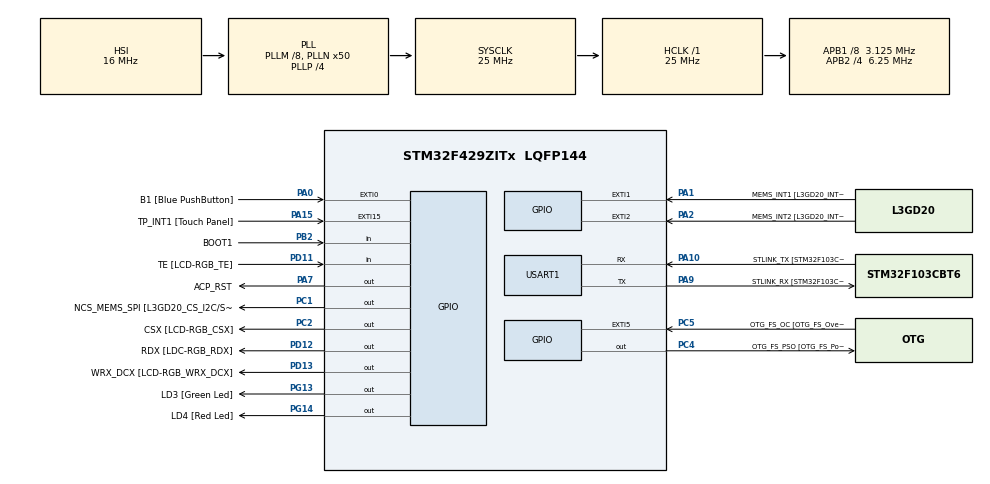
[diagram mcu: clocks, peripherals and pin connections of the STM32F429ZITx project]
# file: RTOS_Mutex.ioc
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FREERTOS.Tasks01=defaultTask,0,128,StartDefaultTask,Default,NULL,Dynamic,NULL,NULL
Mcu.Family=STM32F4
Mcu.Name=STM32F429ZITx
Mcu.Package=LQFP144
NVIC.PriorityGroup=NVIC_PRIORITYGROUP_4
NVIC.TIM6_DAC_IRQn=true\:15\:0\:false\:false\:true\:false\:false\:true\:true
NVIC.TimeBase=TIM6_DAC_IRQn
NVIC.TimeBaseIP=TIM6
PA0/WKUP.GPIO_Label=B1 [Blue PushButton]
PA0/WKUP.GPIO_ModeDefaultEXTI=GPIO_MODE_EVT_RISING
PA0/WKUP.GPIO_PuPd=GPIO_NOPULL
PA0/WKUP.Signal=GPXTI0
PA1.GPIO_Label=MEMS_INT1 [L3GD20_INT1]
PA1.GPIO_ModeDefaultEXTI=GPIO_MODE_EVT_RISING
PA1.GPIO_PuPd=GPIO_NOPULL
PA1.Signal=GPXTI1
PA10.GPIO_Label=STLINK_TX [STM32F103CBT6_PA2]
PA10.Mode=Asynchronous
PA10.Signal=USART1_RX
PA11.GPIO_Label=R4
PA11.GPIO_Mode=GPIO_MODE_AF_PP
PA11.GPIO_PuPd=GPIO_NOPULL
PA11.GPIO_Speed=GPIO_SPEED_FREQ_LOW
PA11.Signal=LTDC_R4
PA12.GPIO_Label=R5
PA12.GPIO_Mode=GPIO_MODE_AF_PP
PA12.GPIO_PuPd=GPIO_NOPULL
PA12.GPIO_Speed=GPIO_SPEED_FREQ_LOW
PA12.Signal=LTDC_R5
PA13.GPIO_Label=SWDIO
PA13.Signal=SYS_JTMS-SWDIO
PA14.GPIO_Label=SWCLK
PA14.Signal=SYS_JTCK-SWCLK
PA15.GPIO_Label=TP_INT1 [Touch Panel]
PA15.GPIO_ModeDefaultEXTI=GPIO_MODE_EVT_RISING
PA15.GPIO_PuPd=GPIO_NOPULL
PA15.Signal=GPXTI15
PA2.GPIO_Label=MEMS_INT2 [L3GD20_INT2]
PA2.GPIO_ModeDefaultEXTI=GPIO_MODE_EVT_RISING
PA2.GPIO_PuPd=GPIO_NOPULL
PA2.Signal=GPXTI2
PA3.GPIO_Label=B5
PA3.GPIO_Mode=GPIO_MODE_AF_PP
PA3.GPIO_PuPd=GPIO_NOPULL
PA3.GPIO_Speed=GPIO_SPEED_FREQ_LOW
PA3.Signal=LTDC_B5
PA4.GPIO_Label=VSYNC
PA4.GPIO_Mode=GPIO_MODE_AF_PP
PA4.GPIO_PuPd=GPIO_NOPULL
PA4.GPIO_Speed=GPIO_SPEED_FREQ_LOW
PA4.Signal=LTDC_VSYNC
PA6.GPIO_Label=G2
PA6.GPIO_Mode=GPIO_MODE_AF_PP
PA6.GPIO_PuPd=GPIO_NOPULL
PA6.GPIO_Speed=GPIO_SPEED_FREQ_LOW
PA6.Signal=LTDC_G2
PA7.GPIO_Label=ACP_RST
PA7.GPIO_Mode=GPIO_MODE_OUTPUT_PP
PA7.GPIO_PuPd=GPIO_NOPULL
PA7.GPIO_Speed=GPIO_SPEED_FREQ_LOW
PA7.Signal=GPIO_Output
PA8.GPIO_Label=I2C3_SCL [ACP/RF_SCL]
PA8.GPIO_Mode=GPIO_MODE_AF_OD
PA8.GPIO_PuPd=GPIO_NOPULL
PA8.GPIO_Speed=GPIO_SPEED_FREQ_LOW
PA8.Signal=I2C3_SCL
PA9.GPIO_Label=STLINK_RX [STM32F103CBT6_PA3]
PA9.Mode=Asynchronous
PA9.Signal=USART1_TX
PB0.GPIO_Label=R3
PB0.GPIO_Mode=GPIO_MODE_AF_PP
PB0.GPIO_PuPd=GPIO_NOPULL
PB0.GPIO_Speed=GPIO_SPEED_FREQ_LOW
PB0.Signal=LTDC_R3
PB1.GPIO_Label=R6
PB1.GPIO_Mode=GPIO_MODE_AF_PP
PB1.GPIO_PuPd=GPIO_NOPULL
PB1.GPIO_Speed=GPIO_SPEED_FREQ_LOW
PB1.Signal=LTDC_R6
PB10.GPIO_Label=G4
PB10.GPIO_Mode=GPIO_MODE_AF_PP
PB10.GPIO_PuPd=GPIO_NOPULL
PB10.GPIO_Speed=GPIO_SPEED_FREQ_LOW
PB10.Signal=LTDC_G4
PB11.GPIO_Label=G5
PB11.GPIO_Mode=GPIO_MODE_AF_PP
PB11.GPIO_PuPd=GPIO_NOPULL
PB11.GPIO_Speed=GPIO_SPEED_FREQ_LOW
PB11.Signal=LTDC_G5
PB12.GPIO_Label=OTG_HS_ID
PB12.GPIO_Mode=GPIO_MODE_AF_PP
PB12.GPIO_PuPd=GPIO_NOPULL
PB12.GPIO_Speed=GPIO_SPEED_FREQ_LOW
PB12.Signal=USB_OTG_HS_ID
PB13.GPIO_Label=VBUS_HS
PB13.GPIO_Mode=GPIO_MODE_INPUT
PB13.GPIO_PuPd=GPIO_NOPULL
PB13.Signal=USB_OTG_HS_VBUS
PB14.GPIO_Label=OTG_HS_DM
PB14.GPIO_Mode=GPIO_MODE_AF_PP
PB14.GPIO_PuPd=GPIO_NOPULL
PB14.GPIO_Speed=GPIO_SPEED_FREQ_LOW
PB14.Signal=USB_OTG_HS_DM
PB15.GPIO_Label=OTG_HS_DP
PB15.GPIO_Mode=GPIO_MODE_AF_PP
PB15.GPIO_PuPd=GPIO_NOPULL
PB15.GPIO_Speed=GPIO_SPEED_FREQ_LOW
PB15.Signal=USB_OTG_HS_DP
PB2/BOOT1.GPIO_Label=BOOT1
PB2/BOOT1.GPIO_Mode=GPIO_MODE_INPUT
PB2/BOOT1.GPIO_PuPd=GPIO_NOPULL
PB2/BOOT1.Signal=GPIO_Input
PB5.GPIO_Label=SDCKE1
PB5.GPIO_Mode=GPIO_MODE_AF_PP
PB5.GPIO_PuPd=GPIO_NOPULL
PB5.GPIO_Speed=GPIO_SPEED_FREQ_VERY_HIGH
PB5.Signal=FMC_SDCKE1
PB6.GPIO_Label=SDNE1 [SDRAM_CS]
PB6.GPIO_Mode=GPIO_MODE_AF_PP
PB6.GPIO_PuPd=GPIO_NOPULL
PB6.GPIO_Speed=GPIO_SPEED_FREQ_VERY_HIGH
PB6.Signal=FMC_SDNE1
PB8.GPIO_Label=B6
PB8.GPIO_Mode=GPIO_MODE_AF_PP
PB8.GPIO_PuPd=GPIO_NOPULL
PB8.GPIO_Speed=GPIO_SPEED_FREQ_LOW
PB8.Signal=LTDC_B6
PB9.GPIO_Label=B7
PB9.GPIO_Mode=GPIO_MODE_AF_PP
PB9.GPIO_PuPd=GPIO_NOPULL
PB9.GPIO_Speed=GPIO_SPEED_FREQ_LOW
PB9.Signal=LTDC_B7
PC0.GPIO_Label=SDNWE
PC0.GPIO_Mode=GPIO_MODE_AF_PP
PC0.GPIO_PuPd=GPIO_NOPULL
PC0.GPIO_Speed=GPIO_SPEED_FREQ_VERY_HIGH
PC0.Signal=FMC_SDNWE
PC1.GPIO_Label=NCS_MEMS_SPI [L3GD20_CS_I2C/SPI]
PC1.GPIO_Mode=GPIO_MODE_OUTPUT_PP
PC1.GPIO_PuPd=GPIO_NOPULL
PC1.GPIO_Speed=GPIO_SPEED_FREQ_LOW
PC1.Signal=GPIO_Output
PC10.GPIO_Label=R2
PC10.GPIO_Mode=GPIO_MODE_AF_PP
PC10.GPIO_PuPd=GPIO_NOPULL
PC10.GPIO_Speed=GPIO_SPEED_FREQ_LOW
PC10.Signal=LTDC_R2
PC14/OSC32_IN.GPIO_Label=PC14-OSC32_IN
PC14/OSC32_IN.Signal=RCC_OSC32_IN
PC15/OSC32_OUT.GPIO_Label=PC15-OSC32_OUT
PC15/OSC32_OUT.Signal=RCC_OSC32_OUT
PC2.GPIO_Label=CSX [LCD-RGB_CSX]
PC2.GPIO_Mode=GPIO_MODE_OUTPUT_PP
PC2.GPIO_PuPd=GPIO_NOPULL
PC2.GPIO_Speed=GPIO_SPEED_FREQ_LOW
PC2.Signal=GPIO_Output
PC4.GPIO_Label=OTG_FS_PSO [OTG_FS_PowerSwitchOn]
PC4.GPIO_Mode=GPIO_MODE_OUTPUT_PP
PC4.GPIO_PuPd=GPIO_NOPULL
PC4.GPIO_Speed=GPIO_SPEED_FREQ_LOW
PC4.Signal=GPIO_Output
PC5.GPIO_Label=OTG_FS_OC [OTG_FS_OverCurrent]
PC5.GPIO_ModeDefaultEXTI=GPIO_MODE_EVT_RISING
PC5.Signal=GPXTI5
PC6.GPIO_Label=HSYNC
PC6.GPIO_Mode=GPIO_MODE_AF_PP
PC6.GPIO_PuPd=GPIO_NOPULL
PC6.GPIO_Speed=GPIO_SPEED_FREQ_LOW
PC6.Signal=LTDC_HSYNC
PC7.GPIO_Label=G6
PC7.GPIO_Mode=GPIO_MODE_AF_PP
PC7.GPIO_PuPd=GPIO_NOPULL
PC7.GPIO_Speed=GPIO_SPEED_FREQ_LOW
PC7.Signal=LTDC_G6
PC9.GPIO_Label=I2C3_SDA [ACP/RF_SDA]
PC9.GPIO_Mode=GPIO_MODE_AF_OD
PC9.GPIO_PuPd=GPIO_NOPULL
PC9.GPIO_Speed=GPIO_SPEED_FREQ_LOW
PC9.Signal=I2C3_SDA
PD0.GPIO_Label=D2
PD0.GPIO_Mode=GPIO_MODE_AF_PP
PD0.GPIO_PuPd=GPIO_NOPULL
PD0.GPIO_Speed=GPIO_SPEED_FREQ_VERY_HIGH
PD0.Signal=FMC_D2_DA2
PD1.GPIO_Label=D3
PD1.GPIO_Mode=GPIO_MODE_AF_PP
PD1.GPIO_PuPd=GPIO_NOPULL
PD1.GPIO_Speed=GPIO_SPEED_FREQ_VERY_HIGH
PD1.Signal=FMC_D3_DA3
PD10.GPIO_Label=D15
PD10.GPIO_Mode=GPIO_MODE_AF_PP
PD10.GPIO_PuPd=GPIO_NOPULL
PD10.GPIO_Speed=GPIO_SPEED_FREQ_VERY_HIGH
PD10.Signal=FMC_D15_DA15
PD11.GPIO_Label=TE [LCD-RGB_TE]
PD11.GPIO_Mode=GPIO_MODE_INPUT
PD11.GPIO_PuPd=GPIO_NOPULL
PD11.Signal=GPIO_Input
PD12.GPIO_Label=RDX [LDC-RGB_RDX]
PD12.GPIO_Mode=GPIO_MODE_OUTPUT_PP
PD12.GPIO_PuPd=GPIO_NOPULL
PD12.GPIO_Speed=GPIO_SPEED_FREQ_LOW
PD12.Signal=GPIO_Output
PD13.GPIO_Label=WRX_DCX [LCD-RGB_WRX_DCX]
PD13.GPIO_Mode=GPIO_MODE_OUTPUT_PP
PD13.GPIO_PuPd=GPIO_NOPULL
PD13.GPIO_Speed=GPIO_SPEED_FREQ_LOW
PD13.Signal=GPIO_Output
PD14.GPIO_Label=D0
PD14.GPIO_Mode=GPIO_MODE_AF_PP
PD14.GPIO_PuPd=GPIO_NOPULL
PD14.GPIO_Speed=GPIO_SPEED_FREQ_VERY_HIGH
PD14.Signal=FMC_D0_DA0
PD15.GPIO_Label=D1
PD15.GPIO_Mode=GPIO_MODE_AF_PP
PD15.GPIO_PuPd=GPIO_NOPULL
PD15.GPIO_Speed=GPIO_SPEED_FREQ_VERY_HIGH
PD15.Signal=FMC_D1_DA1
PD3.GPIO_Label=G7
PD3.GPIO_Mode=GPIO_MODE_AF_PP
PD3.GPIO_PuPd=GPIO_NOPULL
PD3.GPIO_Speed=GPIO_SPEED_FREQ_LOW
PD3.Signal=LTDC_G7
PD6.GPIO_Label=B2
PD6.GPIO_Mode=GPIO_MODE_AF_PP
PD6.GPIO_PuPd=GPIO_NOPULL
PD6.GPIO_Speed=GPIO_SPEED_FREQ_LOW
PD6.Signal=LTDC_B2
PD8.GPIO_Label=D13
PD8.GPIO_Mode=GPIO_MODE_AF_PP
PD8.GPIO_PuPd=GPIO_NOPULL
PD8.GPIO_Speed=GPIO_SPEED_FREQ_VERY_HIGH
PD8.Signal=FMC_D13_DA13
PD9.GPIO_Label=D14
PD9.GPIO_Mode=GPIO_MODE_AF_PP
PD9.GPIO_PuPd=GPIO_NOPULL
PD9.GPIO_Speed=GPIO_SPEED_FREQ_VERY_HIGH
PD9.Signal=FMC_D14_DA14
PE0.GPIO_Label=NBL0 [SDRAM_LDQM]
PE0.GPIO_Mode=GPIO_MODE_AF_PP
PE0.GPIO_PuPd=GPIO_NOPULL
PE0.GPIO_Speed=GPIO_SPEED_FREQ_VERY_HIGH
PE0.Signal=FMC_NBL0
PE1.GPIO_Label=NBL1 [SDRAM_UDQM]
PE1.GPIO_Mode=GPIO_MODE_AF_PP
PE1.GPIO_PuPd=GPIO_NOPULL
PE1.GPIO_Speed=GPIO_SPEED_FREQ_VERY_HIGH
PE1.Signal=FMC_NBL1
PE10.GPIO_Label=D7
PE10.GPIO_Mode=GPIO_MODE_AF_PP
PE10.GPIO_PuPd=GPIO_NOPULL
PE10.GPIO_Speed=GPIO_SPEED_FREQ_VERY_HIGH
PE10.Signal=FMC_D7_DA7
PE11.GPIO_Label=D8
PE11.GPIO_Mode=GPIO_MODE_AF_PP
PE11.GPIO_PuPd=GPIO_NOPULL
PE11.GPIO_Speed=GPIO_SPEED_FREQ_VERY_HIGH
PE11.Signal=FMC_D8_DA8
PE12.GPIO_Label=D9
PE12.GPIO_Mode=GPIO_MODE_AF_PP
PE12.GPIO_PuPd=GPIO_NOPULL
PE12.GPIO_Speed=GPIO_SPEED_FREQ_VERY_HIGH
PE12.Signal=FMC_D9_DA9
PE13.GPIO_Label=D10
PE13.GPIO_Mode=GPIO_MODE_AF_PP
PE13.GPIO_PuPd=GPIO_NOPULL
PE13.GPIO_Speed=GPIO_SPEED_FREQ_VERY_HIGH
PE13.Signal=FMC_D10_DA10
PE14.GPIO_Label=D11
PE14.GPIO_Mode=GPIO_MODE_AF_PP
PE14.GPIO_PuPd=GPIO_NOPULL
PE14.GPIO_Speed=GPIO_SPEED_FREQ_VERY_HIGH
PE14.Signal=FMC_D11_DA11
PE15.GPIO_Label=D12
PE15.GPIO_Mode=GPIO_MODE_AF_PP
PE15.GPIO_PuPd=GPIO_NOPULL
PE15.GPIO_Speed=GPIO_SPEED_FREQ_VERY_HIGH
PE15.Signal=FMC_D12_DA12
PE7.GPIO_Label=D4
PE7.GPIO_Mode=GPIO_MODE_AF_PP
PE7.GPIO_PuPd=GPIO_NOPULL
PE7.GPIO_Speed=GPIO_SPEED_FREQ_VERY_HIGH
PE7.Signal=FMC_D4_DA4
PE8.GPIO_Label=D5
PE8.GPIO_Mode=GPIO_MODE_AF_PP
PE8.GPIO_PuPd=GPIO_NOPULL
PE8.GPIO_Speed=GPIO_SPEED_FREQ_VERY_HIGH
PE8.Signal=FMC_D5_DA5
PE9.GPIO_Label=D6
PE9.GPIO_Mode=GPIO_MODE_AF_PP
PE9.GPIO_PuPd=GPIO_NOPULL
PE9.GPIO_Speed=GPIO_SPEED_FREQ_VERY_HIGH
PE9.Signal=FMC_D6_DA6
PF0.GPIO_Label=A0
PF0.GPIO_Mode=GPIO_MODE_AF_PP
PF0.GPIO_PuPd=GPIO_NOPULL
PF0.GPIO_Speed=GPIO_SPEED_FREQ_VERY_HIGH
PF0.Signal=FMC_A0
PF1.GPIO_Label=A1
PF1.GPIO_Mode=GPIO_MODE_AF_PP
PF1.GPIO_PuPd=GPIO_NOPULL
PF1.GPIO_Speed=GPIO_SPEED_FREQ_VERY_HIGH
PF1.Signal=FMC_A1
PF10.GPIO_Label=ENABLE [LCD-RGB_ENABLE]
PF10.GPIO_Mode=GPIO_MODE_AF_PP
PF10.GPIO_PuPd=GPIO_NOPULL
PF10.GPIO_Speed=GPIO_SPEED_FREQ_LOW
PF10.Signal=LTDC_DE
PF11.GPIO_Label=SDNRAS
PF11.GPIO_Mode=GPIO_MODE_AF_PP
PF11.GPIO_PuPd=GPIO_NOPULL
PF11.GPIO_Speed=GPIO_SPEED_FREQ_VERY_HIGH
PF11.Signal=FMC_SDNRAS
PF12.GPIO_Label=A6
PF12.GPIO_Mode=GPIO_MODE_AF_PP
PF12.GPIO_PuPd=GPIO_NOPULL
PF12.GPIO_Speed=GPIO_SPEED_FREQ_VERY_HIGH
PF12.Signal=FMC_A6
PF13.GPIO_Label=A7
PF13.GPIO_Mode=GPIO_MODE_AF_PP
PF13.GPIO_PuPd=GPIO_NOPULL
PF13.GPIO_Speed=GPIO_SPEED_FREQ_VERY_HIGH
PF13.Signal=FMC_A7
PF14.GPIO_Label=A8
PF14.GPIO_Mode=GPIO_MODE_AF_PP
PF14.GPIO_PuPd=GPIO_NOPULL
PF14.GPIO_Speed=GPIO_SPEED_FREQ_VERY_HIGH
PF14.Signal=FMC_A8
PF15.GPIO_Label=A9
PF15.GPIO_Mode=GPIO_MODE_AF_PP
PF15.GPIO_PuPd=GPIO_NOPULL
PF15.GPIO_Speed=GPIO_SPEED_FREQ_VERY_HIGH
PF15.Signal=FMC_A9
PF2.GPIO_Label=A2
PF2.GPIO_Mode=GPIO_MODE_AF_PP
PF2.GPIO_PuPd=GPIO_NOPULL
PF2.GPIO_Speed=GPIO_SPEED_FREQ_VERY_HIGH
PF2.Signal=FMC_A2
PF3.GPIO_Label=A3
PF3.GPIO_Mode=GPIO_MODE_AF_PP
PF3.GPIO_PuPd=GPIO_NOPULL
PF3.GPIO_Speed=GPIO_SPEED_FREQ_VERY_HIGH
PF3.Signal=FMC_A3
PF4.GPIO_Label=A4
PF4.GPIO_Mode=GPIO_MODE_AF_PP
PF4.GPIO_PuPd=GPIO_NOPULL
PF4.GPIO_Speed=GPIO_SPEED_FREQ_VERY_HIGH
PF4.Signal=FMC_A4
PF5.GPIO_Label=A5
PF5.GPIO_Mode=GPIO_MODE_AF_PP
PF5.GPIO_PuPd=GPIO_NOPULL
PF5.GPIO_Speed=GPIO_SPEED_FREQ_VERY_HIGH
PF5.Signal=FMC_A5
PF7.GPIO_Label=SPI5_SCK [L3GD20_SCL/SPC]
PF7.GPIO_Mode=GPIO_MODE_AF_PP
PF7.GPIO_PuPd=GPIO_NOPULL
PF7.GPIO_Speed=GPIO_SPEED_FREQ_LOW
PF7.Signal=SPI5_SCK
PF8.GPIO_Label=SPI5_MISO [L3GD20_SDO]
PF8.GPIO_Mode=GPIO_MODE_AF_PP
PF8.GPIO_PuPd=GPIO_NOPULL
PF8.GPIO_Speed=GPIO_SPEED_FREQ_LOW
PF8.Signal=SPI5_MISO
PF9.GPIO_Label=SPI5_MOSI [L3GD20_SDA/SDI/SDO]
PF9.GPIO_Mode=GPIO_MODE_AF_PP
PF9.GPIO_PuPd=GPIO_NOPULL
PF9.GPIO_Speed=GPIO_SPEED_FREQ_LOW
PF9.Signal=SPI5_MOSI
PG0.GPIO_Label=A10
PG0.GPIO_Mode=GPIO_MODE_AF_PP
PG0.GPIO_PuPd=GPIO_NOPULL
PG0.GPIO_Speed=GPIO_SPEED_FREQ_VERY_HIGH
PG0.Signal=FMC_A10
PG1.GPIO_Label=A11
PG1.GPIO_Mode=GPIO_MODE_AF_PP
PG1.GPIO_PuPd=GPIO_NOPULL
PG1.GPIO_Speed=GPIO_SPEED_FREQ_VERY_HIGH
PG1.Signal=FMC_A11
PG10.GPIO_Label=G3
PG10.GPIO_Mode=GPIO_MODE_AF_PP
PG10.GPIO_PuPd=GPIO_NOPULL
PG10.GPIO_Speed=GPIO_SPEED_FREQ_LOW
PG10.Signal=LTDC_G3
PG11.GPIO_Label=B3
PG11.GPIO_Mode=GPIO_MODE_AF_PP
PG11.GPIO_PuPd=GPIO_NOPULL
PG11.GPIO_Speed=GPIO_SPEED_FREQ_LOW
PG11.Signal=LTDC_B3
PG12.GPIO_Label=B4
PG12.GPIO_Mode=GPIO_MODE_AF_PP
PG12.GPIO_PuPd=GPIO_NOPULL
PG12.GPIO_Speed=GPIO_SPEED_FREQ_LOW
PG12.Signal=LTDC_B4
PG13.GPIO_Label=LD3 [Green Led]
PG13.GPIO_Mode=GPIO_MODE_OUTPUT_PP
PG13.GPIO_PuPd=GPIO_NOPULL
PG13.GPIO_Speed=GPIO_SPEED_FREQ_LOW
PG13.Signal=GPIO_Output
PG14.GPIO_Label=LD4 [Red Led]
PG14.GPIO_Mode=GPIO_MODE_OUTPUT_PP
PG14.GPIO_PuPd=GPIO_NOPULL
PG14.GPIO_Speed=GPIO_SPEED_FREQ_LOW
PG14.Signal=GPIO_Output
PG15.GPIO_Label=SDNCAS
PG15.GPIO_Mode=GPIO_MODE_AF_PP
PG15.GPIO_PuPd=GPIO_NOPULL
PG15.GPIO_Speed=GPIO_SPEED_FREQ_VERY_HIGH
PG15.Signal=FMC_SDNCAS
PG4.GPIO_Label=BA0
PG4.GPIO_Mode=GPIO_MODE_AF_PP
PG4.GPIO_PuPd=GPIO_NOPULL
PG4.GPIO_Speed=GPIO_SPEED_FREQ_VERY_HIGH
PG4.Signal=FMC_A14_BA0
PG5.GPIO_Label=BA1
PG5.GPIO_Mode=GPIO_MODE_AF_PP
PG5.GPIO_PuPd=GPIO_NOPULL
PG5.GPIO_Speed=GPIO_SPEED_FREQ_VERY_HIGH
PG5.Signal=FMC_A15_BA1
PG6.GPIO_Label=R7
PG6.GPIO_Mode=GPIO_MODE_AF_PP
PG6.GPIO_PuPd=GPIO_NOPULL
PG6.GPIO_Speed=GPIO_SPEED_FREQ_LOW
PG6.Signal=LTDC_R7
PG7.GPIO_Label=DOTCLK [LCT-RGB_DOTCLK]
PG7.GPIO_Mode=GPIO_MODE_AF_PP
PG7.GPIO_PuPd=GPIO_NOPULL
PG7.GPIO_Speed=GPIO_SPEED_FREQ_LOW
PG7.Signal=LTDC_CLK
PG8.GPIO_Label=SDCLK
PG8.GPIO_Mode=GPIO_MODE_AF_PP
PG8.GPIO_PuPd=GPIO_NOPULL
PG8.GPIO_Speed=GPIO_SPEED_FREQ_VERY_HIGH
PG8.Signal=FMC_SDCLK
PH0/OSC_IN.GPIO_Label=PH0-OSC_IN
PH0/OSC_IN.Mode=HSE-External-Oscillator
PH0/OSC_IN.Signal=RCC_OSC_IN
PH1/OSC_OUT.GPIO_Label=PH1-OSC_OUT
PH1/OSC_OUT.Mode=HSE-External-Oscillator
PH1/OSC_OUT.Signal=RCC_OSC_OUT
ProjectManager.HeapSize=0x200
ProjectManager.StackSize=0x400
ProjectManager.TargetToolchain=STM32CubeIDE
RCC.48MHZClocksFreq_Value=14285714.285714285
RCC.AHBFreq_Value=25000000
RCC.APB1CLKDivider=RCC_HCLK_DIV8
RCC.APB1Freq_Value=3125000
RCC.APB1TimFreq_Value=6250000
RCC.APB2CLKDivider=RCC_HCLK_DIV4
RCC.APB2Freq_Value=6250000
RCC.APB2TimFreq_Value=12500000
RCC.CortexFreq_Value=25000000
RCC.HCLKFreq_Value=25000000
RCC.HSE_VALUE=8000000
RCC.HSI_VALUE=16000000
RCC.LSE_VALUE=32768
RCC.PLLM=8
RCC.PLLN=50
RCC.PLLP=RCC_PLLP_DIV4
RCC.PLLQ=7
RCC.SYSCLKFreq_VALUE=25000000
RCC.SYSCLKSource=RCC_SYSCLKSOURCE_PLLCLK
RCC.VCOOutputFreq_Value=100000000
SH.FMC_A0.0=FMC_A0
SH.FMC_A1.0=FMC_A1
SH.FMC_A10.0=FMC_A10
SH.FMC_A11.0=FMC_A11
SH.FMC_A14_BA0.0=FMC_BA0
SH.FMC_A15_BA1.0=FMC_BA1
SH.FMC_A2.0=FMC_A2
SH.FMC_A3.0=FMC_A3
SH.FMC_A4.0=FMC_A4
SH.FMC_A5.0=FMC_A5
SH.FMC_A6.0=FMC_A6
SH.FMC_A7.0=FMC_A7
SH.FMC_A8.0=FMC_A8
SH.FMC_A9.0=FMC_A9
SH.FMC_D0_DA0.0=FMC_D0
SH.FMC_D10_DA10.0=FMC_D10
SH.FMC_D11_DA11.0=FMC_D11
SH.FMC_D12_DA12.0=FMC_D12
SH.FMC_D13_DA13.0=FMC_D13
SH.FMC_D14_DA14.0=FMC_D14
SH.FMC_D15_DA15.0=FMC_D15
SH.FMC_D1_DA1.0=FMC_D1
SH.FMC_D2_DA2.0=FMC_D2
SH.FMC_D3_DA3.0=FMC_D3
SH.FMC_D4_DA4.0=FMC_D4
SH.FMC_D5_DA5.0=FMC_D5
SH.FMC_D6_DA6.0=FMC_D6
SH.FMC_D7_DA7.0=FMC_D7
SH.FMC_D8_DA8.0=FMC_D8
SH.FMC_D9_DA9.0=FMC_D9
SH.FMC_NBL0.0=FMC_NBL0
SH.FMC_NBL1.0=FMC_NBL1
SH.FMC_SDCLK.0=FMC_SDCLK
SH.FMC_SDNCAS.0=FMC_SDNCAS
SH.FMC_SDNRAS.0=FMC_SDNRAS
SH.FMC_SDNWE.0=FMC_SDNWE
USART1.VirtualMode=VM_ASYNC
VP_FREERTOS_VS_CMSIS_V1.Mode=CMSIS_V1
VP_SYS_VS_tim6.Mode=TIM6
board=STM32F429I-DISC1

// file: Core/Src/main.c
/* USER CODE BEGIN Header */
/**
  ******************************************************************************
  * @file           : main.c
  * @brief          : Main program body
  ******************************************************************************
  * @attention
  *
  * Copyright (c) 2024 STMicroelectronics.
  * All rights reserved.
  *
  * This software is licensed under terms that can be found in the LICENSE file
  * in the root directory of this software component.
  * If no LICENSE file comes with this software, it is provided AS-IS.
  *
  ******************************************************************************
  */
/* USER CODE END Header */
#include "main.h"

/* USER CODE BEGIN Includes */
#include "FreeRTOS.h"
#include "task.h"
//#include "timers.h"
#include "queue.h"
#include "semphr.h"
//#include "event_groups.h"

#include "stdio.h"
#include "string.h"
/* USER CODE END Includes */

UART_HandleTypeDef huart1;

void SystemClock_Config(void);
static void MX_GPIO_Init(void);
static void MX_USART1_UART_Init(void);

/* USER CODE BEGIN 0 */
SemaphoreHandle_t SimpleMutex;
SemaphoreHandle_t BinSemaphore;

TaskHandle_t HPT_Handler;
TaskHandle_t MPT_Handler;
TaskHandle_t LPT_Handler;

void HPT_task (void *argument);
void MPT_task (void *argument);
void LPT_task (void *argument);

void Send_Uart (char* str)
{
	xSemaphoreTake(SimpleMutex, portMAX_DELAY);
	HAL_Delay(5000);
	HAL_UART_Transmit(&huart1, str, strlen(str), HAL_MAX_DELAY);
	xSemaphoreGive(SimpleMutex);
}

/* USER CODE END 0 */

int main(void)
{

  /* MCU Configuration--------------------------------------------------------*/

  /* Reset of all peripherals, Initializes the Flash interface and the Systick. */
  HAL_Init();

  /* Configure the system clock */
  SystemClock_Config();

  /* Initialize all configured peripherals */
  MX_GPIO_Init();
  MX_USART1_UART_Init();
  /* USER CODE BEGIN 2 */

 SimpleMutex = xSemaphoreCreateMutex();

 if (SimpleMutex != NULL)
 {
	 HAL_UART_Transmit(&huart1, "Mutex Created \n\n\r\r", 15, 1000);
 }

 BinSemaphore = xSemaphoreCreateBinary();

 if (BinSemaphore != NULL)
 {
	 HAL_UART_Transmit(&huart1, "Semaphore Created \n\n\r\r", 19, 1000);
 }

 xSemaphoreGive(BinSemaphore);

 //create tasks

 xTaskCreate(HPT_task, "HPT", 128, NULL, 3, &HPT_Handler);
 xTaskCreate(MPT_task, "MPT", 128, NULL, 2, &MPT_Handler);
 xTaskCreate(LPT_task, "LPT", 128, NULL, 1, &LPT_Handler);

 vTaskStartScheduler();

}

void SystemClock_Config(void)
{
  RCC_OscInitTypeDef RCC_OscInitStruct = {0};
  RCC_ClkInitTypeDef RCC_ClkInitStruct = {0};

  /** Configure the main internal regulator output voltage
  */
  __HAL_RCC_PWR_CLK_ENABLE();
  __HAL_PWR_VOLTAGESCALING_CONFIG(PWR_REGULATOR_VOLTAGE_SCALE3);

  /** Initializes the RCC Oscillators according to the specified parameters
  * in the RCC_OscInitTypeDef structure.
  */
  RCC_OscInitStruct.OscillatorType = RCC_OSCILLATORTYPE_HSI;
  RCC_OscInitStruct.HSIState = RCC_HSI_ON;
  RCC_OscInitStruct.HSICalibrationValue = RCC_HSICALIBRATION_DEFAULT;
  RCC_OscInitStruct.PLL.PLLState = RCC_PLL_ON;
  RCC_OscInitStruct.PLL.PLLSource = RCC_PLLSOURCE_HSI;
  RCC_OscInitStruct.PLL.PLLM = 8;
  RCC_OscInitStruct.PLL.PLLN = 50;
  RCC_OscInitStruct.PLL.PLLP = RCC_PLLP_DIV4;
  RCC_OscInitStruct.PLL.PLLQ = 7;
  if (HAL_RCC_OscConfig(&RCC_OscInitStruct) != HAL_OK)
  {
    Error_Handler();
  }

  /** Initializes the CPU, AHB and APB buses clocks
  */
  RCC_ClkInitStruct.ClockType = RCC_CLOCKTYPE_HCLK|RCC_CLOCKTYPE_SYSCLK
                              |RCC_CLOCKTYPE_PCLK1|RCC_CLOCKTYPE_PCLK2;
  RCC_ClkInitStruct.SYSCLKSource = RCC_SYSCLKSOURCE_PLLCLK;
  RCC_ClkInitStruct.AHBCLKDivider = RCC_SYSCLK_DIV1;
  RCC_ClkInitStruct.APB1CLKDivider = RCC_HCLK_DIV8;
  RCC_ClkInitStruct.APB2CLKDivider = RCC_HCLK_DIV4;

  if (HAL_RCC_ClockConfig(&RCC_ClkInitStruct, FLASH_LATENCY_0) != HAL_OK)
  {
    Error_Handler();
  }
}

static void MX_USART1_UART_Init(void)
{

  huart1.Instance = USART1;
  huart1.Init.BaudRate = 115200;
  huart1.Init.WordLength = UART_WORDLENGTH_8B;
  huart1.Init.StopBits = UART_STOPBITS_1;
  huart1.Init.Parity = UART_PARITY_NONE;
  huart1.Init.Mode = UART_MODE_TX_RX;
  huart1.Init.HwFlowCtl = UART_HWCONTROL_NONE;
  huart1.Init.OverSampling = UART_OVERSAMPLING_16;
  if (HAL_UART_Init(&huart1) != HAL_OK)
  {
    Error_Handler();
  }

}

static void MX_GPIO_Init(void)
{
  GPIO_InitTypeDef GPIO_InitStruct = {0};

  /* GPIO Ports Clock Enable */
  __HAL_RCC_GPIOC_CLK_ENABLE();
  __HAL_RCC_GPIOF_CLK_ENABLE();
  __HAL_RCC_GPIOH_CLK_ENABLE();
  __HAL_RCC_GPIOA_CLK_ENABLE();
  __HAL_RCC_GPIOB_CLK_ENABLE();
  __HAL_RCC_GPIOG_CLK_ENABLE();
  __HAL_RCC_GPIOE_CLK_ENABLE();
  __HAL_RCC_GPIOD_CLK_ENABLE();

  /*Configure GPIO pin Output Level */
  HAL_GPIO_WritePin(GPIOC, NCS_MEMS_SPI_Pin|CSX_Pin|OTG_FS_PSO_Pin, GPIO_PIN_RESET);

  /*Configure GPIO pin Output Level */
  HAL_GPIO_WritePin(ACP_RST_GPIO_Port, ACP_RST_Pin, GPIO_PIN_RESET);

  /*Configure GPIO pin Output Level */
  HAL_GPIO_WritePin(GPIOD, RDX_Pin|WRX_DCX_Pin, GPIO_PIN_RESET);

  /*Configure GPIO pin Output Level */
  HAL_GPIO_WritePin(GPIOG, LD3_Pin|LD4_Pin, GPIO_PIN_RESET);

  /*Configure GPIO pins : A0_Pin A1_Pin A2_Pin A3_Pin
                           A4_Pin A5_Pin SDNRAS_Pin A6_Pin
                           A7_Pin A8_Pin A9_Pin */
  GPIO_InitStruct.Pin = A0_Pin|A1_Pin|A2_Pin|A3_Pin
                          |A4_Pin|A5_Pin|SDNRAS_Pin|A6_Pin
                          |A7_Pin|A8_Pin|A9_Pin;
  GPIO_InitStruct.Mode = GPIO_MODE_AF_PP;
  GPIO_InitStruct.Pull = GPIO_NOPULL;
  GPIO_InitStruct.Speed = GPIO_SPEED_FREQ_VERY_HIGH;
  GPIO_InitStruct.Alternate = GPIO_AF12_FMC;
  HAL_GPIO_Init(GPIOF, &GPIO_InitStruct);

  /*Configure GPIO pins : SPI5_SCK_Pin SPI5_MISO_Pin SPI5_MOSI_Pin */
  GPIO_InitStruct.Pin = SPI5_SCK_Pin|SPI5_MISO_Pin|SPI5_MOSI_Pin;
  GPIO_InitStruct.Mode = GPIO_MODE_AF_PP;
  GPIO_InitStruct.Pull = GPIO_NOPULL;
  GPIO_InitStruct.Speed = GPIO_SPEED_FREQ_LOW;
  GPIO_InitStruct.Alternate = GPIO_AF5_SPI5;
  HAL_GPIO_Init(GPIOF, &GPIO_InitStruct);

  /*Configure GPIO pin : ENABLE_Pin */
  GPIO_InitStruct.Pin = ENABLE_Pin;
  GPIO_InitStruct.Mode = GPIO_MODE_AF_PP;
  GPIO_InitStruct.Pull = GPIO_NOPULL;
  GPIO_InitStruct.Speed = GPIO_SPEED_FREQ_LOW;
  GPIO_InitStruct.Alternate = GPIO_AF14_LTDC;
  HAL_GPIO_Init(ENABLE_GPIO_Port, &GPIO_InitStruct);

  /*Configure GPIO pin : SDNWE_Pin */
  GPIO_InitStruct.Pin = SDNWE_Pin;
  GPIO_InitStruct.Mode = GPIO_MODE_AF_PP;
  GPIO_InitStruct.Pull = GPIO_NOPULL;
  GPIO_InitStruct.Speed = GPIO_SPEED_FREQ_VERY_HIGH;
  GPIO_InitStruct.Alternate = GPIO_AF12_FMC;
  HAL_GPIO_Init(SDNWE_GPIO_Port, &GPIO_InitStruct);

  /*Configure GPIO pins : NCS_MEMS_SPI_Pin CSX_Pin OTG_FS_PSO_Pin */
  GPIO_InitStruct.Pin = NCS_MEMS_SPI_Pin|CSX_Pin|OTG_FS_PSO_Pin;
  GPIO_InitStruct.Mode = GPIO_MODE_OUTPUT_PP;
  GPIO_InitStruct.Pull = GPIO_NOPULL;
  GPIO_InitStruct.Speed = GPIO_SPEED_FREQ_LOW;
  HAL_GPIO_Init(GPIOC, &GPIO_InitStruct);

  /*Configure GPIO pins : B1_Pin MEMS_INT1_Pin MEMS_INT2_Pin TP_INT1_Pin */
  GPIO_InitStruct.Pin = B1_Pin|MEMS_INT1_Pin|MEMS_INT2_Pin|TP_INT1_Pin;
  GPIO_InitStruct.Mode = GPIO_MODE_EVT_RISING;
  GPIO_InitStruct.Pull = GPIO_NOPULL;
  HAL_GPIO_Init(GPIOA, &GPIO_InitStruct);

  /*Configure GPIO pins : B5_Pin VSYNC_Pin G2_Pin R4_Pin
                           R5_Pin */
  GPIO_InitStruct.Pin = B5_Pin|VSYNC_Pin|G2_Pin|R4_Pin
                          |R5_Pin;
  GPIO_InitStruct.Mode = GPIO_MODE_AF_PP;
  GPIO_InitStruct.Pull = GPIO_NOPULL;
  GPIO_InitStruct.Speed = GPIO_SPEED_FREQ_LOW;
  GPIO_InitStruct.Alternate = GPIO_AF14_LTDC;
  HAL_GPIO_Init(GPIOA, &GPIO_InitStruct);

  /*Configure GPIO pin : ACP_RST_Pin */
  GPIO_InitStruct.Pin = ACP_RST_Pin;
  GPIO_InitStruct.Mode = GPIO_MODE_OUTPUT_PP;
  GPIO_InitStruct.Pull = GPIO_NOPULL;
  GPIO_InitStruct.Speed = GPIO_SPEED_FREQ_LOW;
  HAL_GPIO_Init(ACP_RST_GPIO_Port, &GPIO_InitStruct);

  /*Configure GPIO pin : OTG_FS_OC_Pin */
  GPIO_InitStruct.Pin = OTG_FS_OC_Pin;
  GPIO_InitStruct.Mode = GPIO_MODE_EVT_RISING;
  GPIO_InitStruct.Pull = GPIO_NOPULL;
  HAL_GPIO_Init(OTG_FS_OC_GPIO_Port, &GPIO_InitStruct);

  /*Configure GPIO pins : R3_Pin R6_Pin */
  GPIO_InitStruct.Pin = R3_Pin|R6_Pin;
  GPIO_InitStruct.Mode = GPIO_MODE_AF_PP;
  GPIO_InitStruct.Pull = GPIO_NOPULL;
  GPIO_InitStruct.Speed = GPIO_SPEED_FREQ_LOW;
  GPIO_InitStruct.Alternate = GPIO_AF9_LTDC;
  HAL_GPIO_Init(GPIOB, &GPIO_InitStruct);

  /*Configure GPIO pin : BOOT1_Pin */
  GPIO_InitStruct.Pin = BOOT1_Pin;
  GPIO_InitStruct.Mode = GPIO_MODE_INPUT;
  GPIO_InitStruct.Pull = GPIO_NOPULL;
  HAL_GPIO_Init(BOOT1_GPIO_Port, &GPIO_InitStruct);

  /*Configure GPIO pins : A10_Pin A11_Pin BA0_Pin BA1_Pin
                           SDCLK_Pin SDNCAS_Pin */
  GPIO_InitStruct.Pin = A10_Pin|A11_Pin|BA0_Pin|BA1_Pin
                          |SDCLK_Pin|SDNCAS_Pin;
  GPIO_InitStruct.Mode = GPIO_MODE_AF_PP;
  GPIO_InitStruct.Pull = GPIO_NOPULL;
  GPIO_InitStruct.Speed = GPIO_SPEED_FREQ_VERY_HIGH;
  GPIO_InitStruct.Alternate = GPIO_AF12_FMC;
  HAL_GPIO_Init(GPIOG, &GPIO_InitStruct);

  /*Configure GPIO pins : D4_Pin D5_Pin D6_Pin D7_Pin
                           D8_Pin D9_Pin D10_Pin D11_Pin
                           D12_Pin NBL0_Pin NBL1_Pin */
  GPIO_InitStruct.Pin = D4_Pin|D5_Pin|D6_Pin|D7_Pin
                          |D8_Pin|D9_Pin|D10_Pin|D11_Pin
                          |D12_Pin|NBL0_Pin|NBL1_Pin;
  GPIO_InitStruct.Mode = GPIO_MODE_AF_PP;
  GPIO_InitStruct.Pull = GPIO_NOPULL;
  GPIO_InitStruct.Speed = GPIO_SPEED_FREQ_VERY_HIGH;
  GPIO_InitStruct.Alternate = GPIO_AF12_FMC;
  HAL_GPIO_Init(GPIOE, &GPIO_InitStruct);

  /*Configure GPIO pins : G4_Pin G5_Pin B6_Pin B7_Pin */
  GPIO_InitStruct.Pin = G4_Pin|G5_Pin|B6_Pin|B7_Pin;
  GPIO_InitStruct.Mode = GPIO_MODE_AF_PP;
  GPIO_InitStruct.Pull = GPIO_NOPULL;
  GPIO_InitStruct.Speed = GPIO_SPEED_FREQ_LOW;
  GPIO_InitStruct.Alternate = GPIO_AF14_LTDC;
  HAL_GPIO_Init(GPIOB, &GPIO_InitStruct);

  /*Configure GPIO pins : OTG_HS_ID_Pin OTG_HS_DM_Pin OTG_HS_DP_Pin */
  GPIO_InitStruct.Pin = OTG_HS_ID_Pin|OTG_HS_DM_Pin|OTG_HS_DP_Pin;
  GPIO_InitStruct.Mode = GPIO_MODE_AF_PP;
  GPIO_InitStruct.Pull = GPIO_NOPULL;
  GPIO_InitStruct.Speed = GPIO_SPEED_FREQ_LOW;
  GPIO_InitStruct.Alternate = GPIO_AF12_OTG_HS_FS;
  HAL_GPIO_Init(GPIOB, &GPIO_InitStruct);

  /*Configure GPIO pin : VBUS_HS_Pin */
  GPIO_InitStruct.Pin = VBUS_HS_Pin;
  GPIO_InitStruct.Mode = GPIO_MODE_INPUT;
  GPIO_InitStruct.Pull = GPIO_NOPULL;
  HAL_GPIO_Init(VBUS_HS_GPIO_Port, &GPIO_InitStruct);

  /*Configure GPIO pins : D13_Pin D14_Pin D15_Pin D0_Pin
                           D1_Pin D2_Pin D3_Pin */
  GPIO_InitStruct.Pin = D13_Pin|D14_Pin|D15_Pin|D0_Pin
                          |D1_Pin|D2_Pin|D3_Pin;
  GPIO_InitStruct.Mode = GPIO_MODE_AF_PP;
  GPIO_InitStruct.Pull = GPIO_NOPULL;
  GPIO_InitStruct.Speed = GPIO_SPEED_FREQ_VERY_HIGH;
  GPIO_InitStruct.Alternate = GPIO_AF12_FMC;
  HAL_GPIO_Init(GPIOD, &GPIO_InitStruct);

  /*Configure GPIO pin : TE_Pin */
  GPIO_InitStruct.Pin = TE_Pin;
  GPIO_InitStruct.Mode = GPIO_MODE_INPUT;
  GPIO_InitStruct.Pull = GPIO_NOPULL;
  HAL_GPIO_Init(TE_GPIO_Port, &GPIO_InitStruct);

  /*Configure GPIO pins : RDX_Pin WRX_DCX_Pin */
  GPIO_InitStruct.Pin = RDX_Pin|WRX_DCX_Pin;
  GPIO_InitStruct.Mode = GPIO_MODE_OUTPUT_PP;
  GPIO_InitStruct.Pull = GPIO_NOPULL;
  GPIO_InitStruct.Speed = GPIO_SPEED_FREQ_LOW;
  HAL_GPIO_Init(GPIOD, &GPIO_InitStruct);

  /*Configure GPIO pins : R7_Pin DOTCLK_Pin B3_Pin */
  GPIO_InitStruct.Pin = R7_Pin|DOTCLK_Pin|B3_Pin;
  GPIO_InitStruct.Mode = GPIO_MODE_AF_PP;
  GPIO_InitStruct.Pull = GPIO_NOPULL;
  GPIO_InitStruct.Speed = GPIO_SPEED_FREQ_LOW;
  GPIO_InitStruct.Alternate = GPIO_AF14_LTDC;
  HAL_GPIO_Init(GPIOG, &GPIO_InitStruct);

  /*Configure GPIO pins : HSYNC_Pin G6_Pin R2_Pin */
  GPIO_InitStruct.Pin = HSYNC_Pin|G6_Pin|R2_Pin;
  GPIO_InitStruct.Mode = GPIO_MODE_AF_PP;
  GPIO_InitStruct.Pull = GPIO_NOPULL;
  GPIO_InitStruct.Speed = GPIO_SPEED_FREQ_LOW;
  GPIO_InitStruct.Alternate = GPIO_AF14_LTDC;
  HAL_GPIO_Init(GPIOC, &GPIO_InitStruct);

  /*Configure GPIO pin : I2C3_SDA_Pin */
  GPIO_InitStruct.Pin = I2C3_SDA_Pin;
  GPIO_InitStruct.Mode = GPIO_MODE_AF_OD;
  GPIO_InitStruct.Pull = GPIO_NOPULL;
  GPIO_InitStruct.Speed = GPIO_SPEED_FREQ_LOW;
  GPIO_InitStruct.Alternate = GPIO_AF4_I2C3;
  HAL_GPIO_Init(I2C3_SDA_GPIO_Port, &GPIO_InitStruct);

  /*Configure GPIO pin : I2C3_SCL_Pin */
  GPIO_InitStruct.Pin = I2C3_SCL_Pin;
  GPIO_InitStruct.Mode = GPIO_MODE_AF_OD;
  GPIO_InitStruct.Pull = GPIO_NOPULL;
  GPIO_InitStruct.Speed = GPIO_SPEED_FREQ_LOW;
  GPIO_InitStruct.Alternate = GPIO_AF4_I2C3;
  HAL_GPIO_Init(I2C3_SCL_GPIO_Port, &GPIO_InitStruct);

  /*Configure GPIO pins : G7_Pin B2_Pin */
  GPIO_InitStruct.Pin = G7_Pin|B2_Pin;
  GPIO_InitStruct.Mode = GPIO_MODE_AF_PP;
  GPIO_InitStruct.Pull = GPIO_NOPULL;
  GPIO_InitStruct.Speed = GPIO_SPEED_FREQ_LOW;
  GPIO_InitStruct.Alternate = GPIO_AF14_LTDC;
  HAL_GPIO_Init(GPIOD, &GPIO_InitStruct);

  /*Configure GPIO pins : G3_Pin B4_Pin */
  GPIO_InitStruct.Pin = G3_Pin|B4_Pin;
  GPIO_InitStruct.Mode = GPIO_MODE_AF_PP;
  GPIO_InitStruct.Pull = GPIO_NOPULL;
  GPIO_InitStruct.Speed = GPIO_SPEED_FREQ_LOW;
  GPIO_InitStruct.Alternate = GPIO_AF9_LTDC;
  HAL_GPIO_Init(GPIOG, &GPIO_InitStruct);

  /*Configure GPIO pins : LD3_Pin LD4_Pin */
  GPIO_InitStruct.Pin = LD3_Pin|LD4_Pin;
  GPIO_InitStruct.Mode = GPIO_MODE_OUTPUT_PP;
  GPIO_InitStruct.Pull = GPIO_NOPULL;
  GPIO_InitStruct.Speed = GPIO_SPEED_FREQ_LOW;
  HAL_GPIO_Init(GPIOG, &GPIO_InitStruct);

  /*Configure GPIO pins : SDCKE1_Pin SDNE1_Pin */
  GPIO_InitStruct.Pin = SDCKE1_Pin|SDNE1_Pin;
  GPIO_InitStruct.Mode = GPIO_MODE_AF_PP;
  GPIO_InitStruct.Pull = GPIO_NOPULL;
  GPIO_InitStruct.Speed = GPIO_SPEED_FREQ_VERY_HIGH;
  GPIO_InitStruct.Alternate = GPIO_AF12_FMC;
  HAL_GPIO_Init(GPIOB, &GPIO_InitStruct);

}

/* USER CODE BEGIN 4 */
void HPT_task (void *argument)
{
	char *strtosend = "In HPT========\n\r";
	while (1)
	{
		char *str = "Entered the HPT Task about to acquire MUTEX \n\n\r\r";
		HAL_UART_Transmit(&huart1,str,strlen(str),HAL_MAX_DELAY);

		Send_Uart(strtosend);

		char *str1 = "Leaving the HPT Task \n\n\r\r";
		HAL_UART_Transmit(&huart1,str1,strlen(str),HAL_MAX_DELAY);

		vTaskDelay(750);
	}
}

void MPT_task (void *argument)
{
//	char *strtosend = "In MPT.......\n\r";
	while (1)
	{
//		char *str = "Entered the MPT Task about to acquire Mutex \n\n\r\r";
//		HAL_UART_Transmit(&huart1,str,strlen(str),HAL_MAX_DELAY);
//
//		Send_Uart(strtosend);
//
//		char *str1 = "Leaving the MPT Task \n\n\r\r";
//		HAL_UART_Transmit(&huart1,str1,strlen(str),HAL_MAX_DELAY);
//
//		vTaskDelay(2000);
		char *str = "In MPT.......\n\n\r";
		HAL_UART_Transmit(&huart1,str,strlen(str),HAL_MAX_DELAY);
		vTaskDelay(2000);
	}
}

void LPT_task (void *argument)
{
	char *strtosend = "In LPT''''''''\n\r";
	while (1)
	{
		char *str = "Entered the LPT Task about to acquire MUTEX \n\r";
		HAL_UART_Transmit(&huart1,str,strlen(str),HAL_MAX_DELAY);

		Send_Uart(strtosend);

		char *str1 = "Leaving the LPT Task \n\r";
		HAL_UART_Transmit(&huart1,str1,strlen(str),HAL_MAX_DELAY);

		vTaskDelay(1000);
	}
}
/* USER CODE END 4 */

void HAL_TIM_PeriodElapsedCallback(TIM_HandleTypeDef *htim)
{
  if (htim->Instance == TIM6) {
    HAL_IncTick();
  }
}

void Error_Handler(void)
{
  __disable_irq();
  while (1)
  {
  }
}
